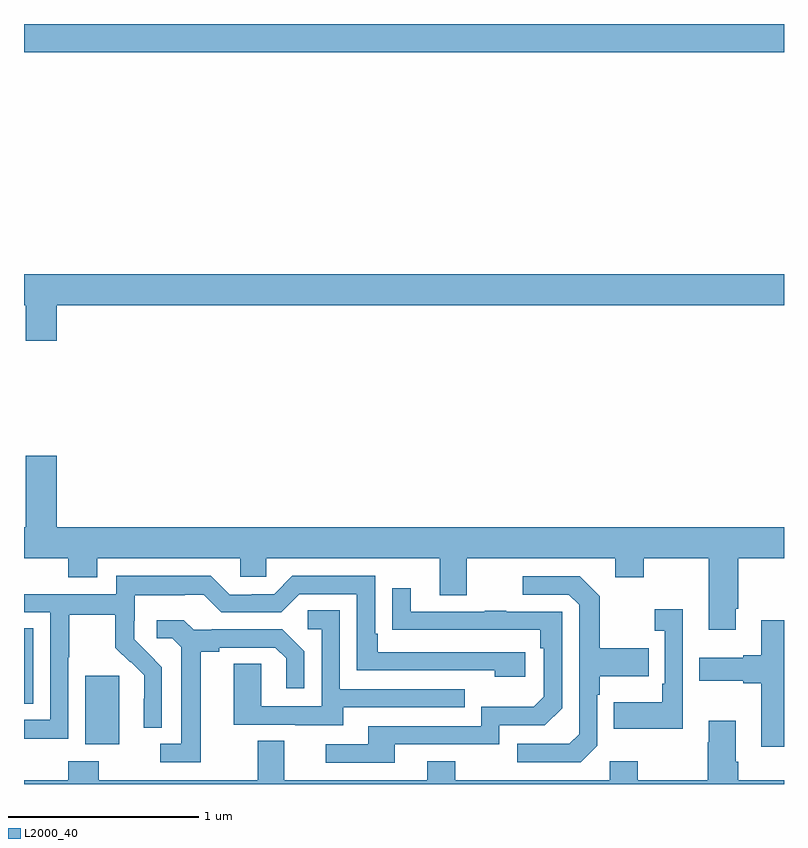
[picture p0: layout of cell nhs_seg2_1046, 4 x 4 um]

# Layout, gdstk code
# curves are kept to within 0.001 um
import gdstk
lib = gdstk.Library(unit=1e-6, precision=1e-09)
def R(c, l, rs):  # rectangles x0, y0, x1, y1
    for r in rs: c.add(gdstk.rectangle(r[:2], r[2:], *l))
def P(c, l, *ps):  # polygons
    for p in ps: c.add(gdstk.Polygon(p, *l))
L2000_40 = (2000, 40)

nhs_seg2_1046 = lib.new_cell('nhs_seg2_1046')
R(nhs_seg2_1046, L2000_40, [(165.323,628.01,165.502,628.371), (165,628.222,165.049,628.619), (165,631.652,169,631.8)])
P(nhs_seg2_1046, L2000_40, [(165.172,630.32),(169,630.32),(169,630.484),(165,630.484),(165,630.32),(165.008,630.32),(165.008,630.132),(165.172,630.132)],
  [(168.745,628.723),(168.758,628.723),(168.758,628.988),(169,628.988),(169,629.152),(165.172,629.152),(165.172,629.527),(165.008,629.527),(165.008,629.152),(165,629.152),(165,628.988),(165.233,628.988),(165.233,628.889),(165.385,628.889),(165.385,628.988),(166.137,628.988),(166.137,628.89),(166.275,628.89),(166.275,628.988),(167.189,628.988),(167.189,628.794),(167.329,628.794),(167.329,628.988),(168.113,628.988),(168.113,628.889),(168.261,628.889),(168.261,628.988),(168.605,628.988),(168.605,628.611),(168.745,628.611)],
  [(165.234,628.468),(165.237,628.468),(165.237,628.692),(165.481,628.692),(165.481,628.517),(165.558,628.44),(165.561,628.443),(165.632,628.373),(165.632,628.25),(165.63,628.25),(165.63,628.096),(165.726,628.096),(165.726,628.414),(165.58,628.562),(165.58,628.659),(165.582,628.659),(165.582,628.793),(165.845,628.793),(165.845,628.797),(165.945,628.797),(166.038,628.704),(166.353,628.704),(166.449,628.8),(166.752,628.8),(166.752,628.398),(167.477,628.398),(167.477,628.364),(167.638,628.364),(167.638,628.494),(166.861,628.494),(166.861,628.591),(166.848,628.591),(166.848,628.896),(166.413,628.896),(166.317,628.8),(166.199,628.8),(166.199,628.797),(166.083,628.797),(165.983,628.897),(165.486,628.897),(165.486,628.8),(165,628.8),(165,628.704),(165.138,628.704),(165.138,628.137),(165,628.137),(165,628.039),(165.234,628.039)],
  [(168.018,628.002),(168.018,628.271),(168.031,628.271),(168.031,628.367),(168.287,628.367),(168.287,628.515),(168.031,628.515),(168.031,628.787),(167.925,628.893),(167.625,628.893),(167.625,628.797),(167.868,628.797),(167.922,628.743),(167.922,628.062),(167.871,628.011),(167.595,628.011),(167.595,627.915),(167.931,627.915)],
  [(166.951,628.008),(167.502,628.008),(167.502,628.11),(167.742,628.11),(167.832,628.2),(167.832,628.707),(167.537,628.707),(167.537,628.712),(167.425,628.712),(167.425,628.707),(167.035,628.707),(167.035,628.831),(166.939,628.831),(166.939,628.612),(167.716,628.611),(167.716,628.514),(167.736,628.514),(167.736,628.26),(167.683,628.207),(167.406,628.207),(167.406,628.104),(166.811,628.104),(166.811,628.008),(166.587,628.008),(166.587,627.912),(166.951,627.912)],
  [(168.468,628.72),(168.321,628.72),(168.321,628.607),(168.372,628.607),(168.372,628.327),(168.36,628.327),(168.36,628.231),(168.103,628.231),(168.103,628.091),(168.468,628.091)],
  [(166.681,628.203),(167.321,628.203),(167.321,628.299),(166.662,628.299),(166.662,628.715),(166.494,628.715),(166.494,628.614),(166.566,628.614),(166.566,628.209),(166.248,628.209),(166.248,628.433),(166.103,628.433),(166.103,628.113),(166.427,628.113),(166.427,628.109),(166.681,628.109)],
  [(169,628.663),(168.881,628.663),(168.881,628.478),(168.785,628.478),(168.785,628.465),(168.555,628.465),(168.555,628.343),(168.785,628.343),(168.785,628.331),(168.881,628.331),(168.881,627.996),(169,627.996)],
  [(165.931,628.496),(166.027,628.496),(166.027,628.518),(166.322,628.518),(166.379,628.461),(166.379,628.305),(166.476,628.305),(166.476,628.498),(166.36,628.614),(165.988,628.614),(165.988,628.611),(165.894,628.611),(165.842,628.663),(165.699,628.663),(165.699,628.566),(165.78,628.566),(165.827,628.519),(165.827,628.011),(165.717,628.011),(165.717,627.915),(165.931,627.915)],
  [(169,627.82),(168.758,627.82),(168.758,627.916),(168.745,627.916),(168.745,628.132),(168.605,628.132),(168.605,628.019),(168.598,628.019),(168.598,627.82),(168.231,627.82),(168.231,627.919),(168.084,627.919),(168.084,627.82),(167.271,627.82),(167.271,627.919),(167.123,627.919),(167.123,627.82),(166.369,627.82),(166.369,628.028),(166.229,628.028),(166.229,627.82),(165.393,627.82),(165.393,627.919),(165.233,627.919),(165.233,627.82),(165,627.82),(165,627.8),(169,627.8)])

lib.write_gds('nhs_seg2_1046.gds')
